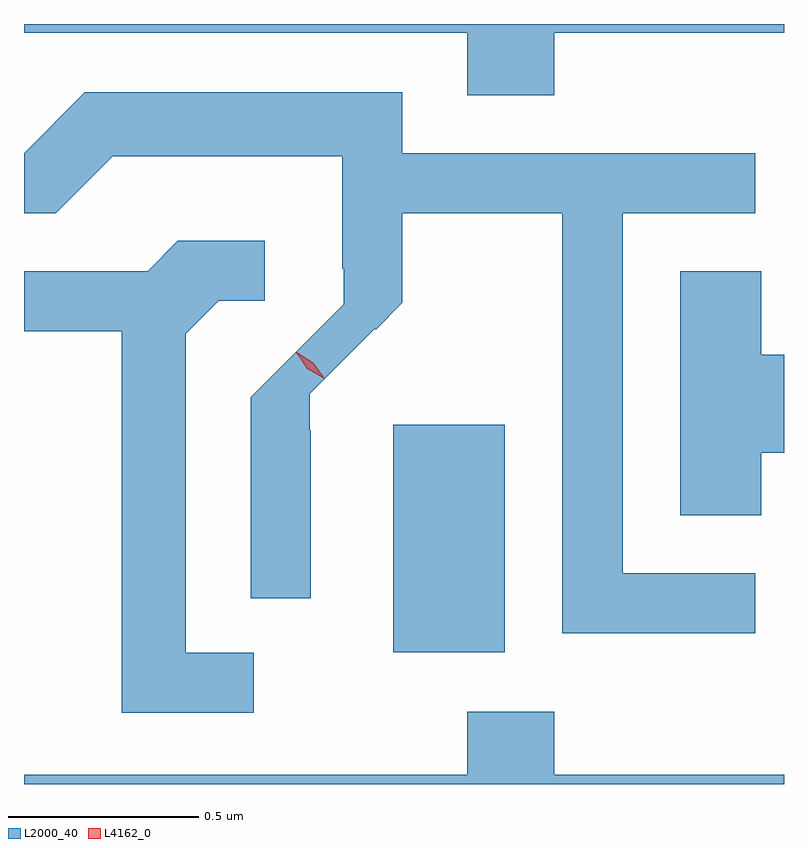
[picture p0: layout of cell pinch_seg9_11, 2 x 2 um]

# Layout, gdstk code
import gdstk
lib = gdstk.Library(unit=1e-6, precision=1e-09)
def R(c, l, rs):  # rectangles x0, y0, x1, y1
    for r in rs: c.add(gdstk.rectangle(r[:2], r[2:], *l))
def P(c, l, *ps):  # polygons
    for p in ps: c.add(gdstk.Polygon(p, *l))
L2000_40 = (2000, 40)
L4162_0 = (4162, 0)

pinch_seg9_11 = lib.new_cell('pinch_seg9_11')
R(pinch_seg9_11, L2000_40, [(1908.756,2001.286,1909.049,2001.884)])
P(pinch_seg9_11, L2000_40, [(1909.179,2002.916),(1909.784,2002.916),(1909.784,2002.939),(1907.784,2002.939),(1907.784,2002.916),(1908.951,2002.916),(1908.951,2002.751),(1909.179,2002.751)],
  [(1909.708,2001.494),(1909.359,2001.494),(1909.359,2002.441),(1909.708,2002.441),(1909.708,2002.599),(1908.779,2002.599),(1908.779,2002.759),(1907.944,2002.759),(1907.784,2002.599),(1907.784,2002.441),(1907.867,2002.441),(1908.017,2002.591),(1908.621,2002.591),(1908.621,2002.295),(1908.625,2002.295),(1908.625,2002.201),(1908.381,2001.957),(1908.381,2001.428),(1908.539,2001.428),(1908.539,2001.87),(1908.536,2001.87),(1908.536,2001.966),(1908.707,2002.137),(1908.709,2002.135),(1908.779,2002.205),(1908.779,2002.441),(1909.201,2002.441),(1909.201,2001.336),(1909.708,2001.336)],
  [(1908.388,2001.284),(1908.209,2001.284),(1908.209,2002.124),(1908.297,2002.211),(1908.418,2002.211),(1908.418,2002.369),(1908.189,2002.369),(1908.109,2002.289),(1907.784,2002.289),(1907.784,2002.131),(1908.041,2002.131),(1908.041,2001.126),(1908.388,2001.126)],
  [(1909.724,2001.811),(1909.784,2001.811),(1909.784,2002.069),(1909.724,2002.069),(1909.724,2002.289),(1909.511,2002.289),(1909.511,2001.646),(1909.724,2001.646)],
  [(1909.784,2000.964),(1909.179,2000.964),(1909.179,2001.129),(1908.951,2001.129),(1908.951,2000.964),(1907.784,2000.964),(1907.784,2000.939),(1909.784,2000.939)])
P(pinch_seg9_11, L4162_0, [(1908.575,2002.006),(1908.532,2002.033),(1908.501,2002.074),(1908.501,2002.075),(1908.502,2002.075),(1908.545,2002.048),(1908.576,2002.006),(1908.576,2002.006)],
  [(1908.57,2002.008),(1908.53,2002.032),(1908.504,2002.07),(1908.504,2002.07),(1908.504,2002.07),(1908.544,2002.046),(1908.571,2002.008),(1908.571,2002.008)])

lib.write_gds('pinch_seg9_11.gds')
